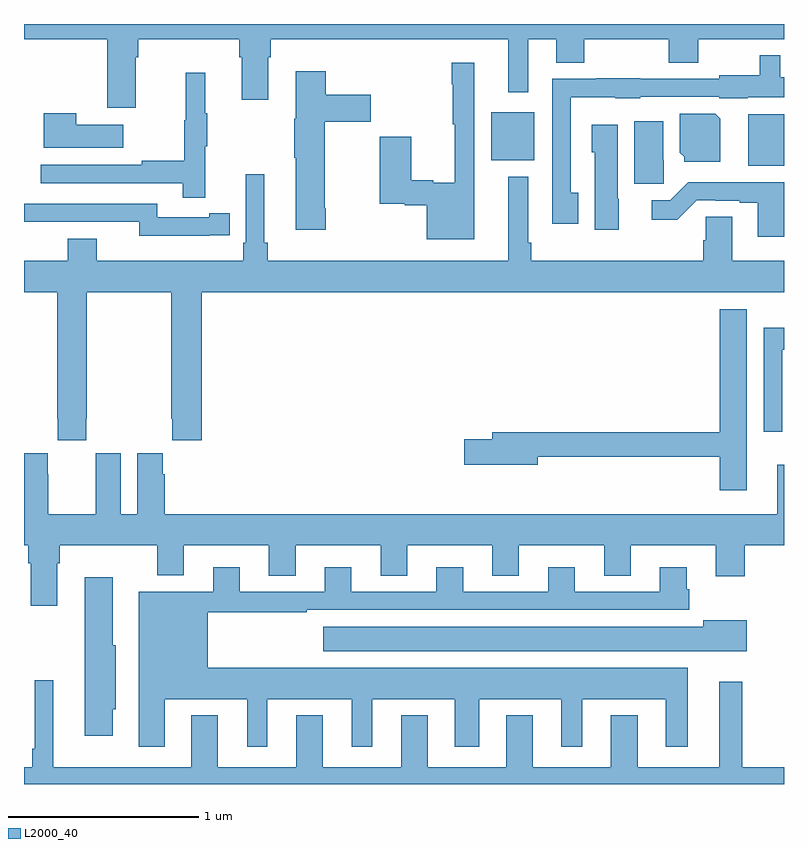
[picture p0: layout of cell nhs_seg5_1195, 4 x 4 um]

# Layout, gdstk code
import gdstk
lib = gdstk.Library(unit=1e-6, precision=1e-09)
def R(c, l, rs):  # rectangles x0, y0, x1, y1
    for r in rs: c.add(gdstk.rectangle(r[:2], r[2:], *l))
def P(c, l, *ps):  # polygons
    for p in ps: c.add(gdstk.Polygon(p, *l))
L2000_40 = (2000, 40)

nhs_seg5_1195 = lib.new_cell('nhs_seg5_1195')
R(nhs_seg5_1195, L2000_40, [(186.812,896.054,187,896.324), (185.459,896.081,185.686,896.335)])
P(nhs_seg5_1195, L2000_40, [(183.589,896.624),(183.602,896.624),(183.602,896.72),(184.133,896.72),(184.133,896.624),(184.145,896.624),(184.145,896.4),(184.285,896.4),(184.285,896.624),(184.298,896.624),(184.298,896.72),(185.549,896.72),(185.549,896.439),(185.653,896.439),(185.653,896.72),(185.801,896.72),(185.801,896.596),(185.949,896.596),(185.949,896.72),(186.394,896.72),(186.394,896.596),(186.549,896.596),(186.549,896.72),(187,896.72),(187,896.799),(183,896.799),(183,896.72),(183.437,896.72),(183.437,896.358),(183.589,896.358)],
  [(185.917,895.91),(185.877,895.91),(185.877,896.414),(186.111,896.414),(186.111,896.408),(186.243,896.408),(186.243,896.415),(186.66,896.415),(186.66,896.408),(186.81,896.408),(186.81,896.414),(187,896.414),(187,896.519),(186.981,896.519),(186.981,896.635),(186.873,896.635),(186.873,896.53),(186.66,896.53),(186.66,896.511),(186.243,896.511),(186.243,896.513),(186.011,896.513),(186.011,896.511),(185.781,896.511),(185.781,895.749),(185.917,895.749)],
  [(185.371,896.596),(185.25,896.596),(185.25,896.483),(185.257,896.483),(185.257,896.271),(185.267,896.271),(185.267,895.963),(185.153,895.963),(185.153,895.976),(185.038,895.976),(185.038,896.206),(184.873,896.206),(184.873,895.853),(185.004,895.853),(185.004,895.846),(185.12,895.846),(185.12,895.667),(185.371,895.667)],
  [(184.589,895.828),(184.584,895.828),(184.584,896.285),(184.825,896.285),(184.825,896.427),(184.589,896.427),(184.589,896.551),(184.43,896.551),(184.43,896.301),(184.423,896.301),(184.423,896.095),(184.43,896.095),(184.43,895.716),(184.589,895.716)],
  [(183.953,896.155),(183.964,896.155),(183.964,896.329),(183.953,896.329),(183.953,896.542),(183.85,896.542),(183.85,896.292),(183.843,896.292),(183.843,896.078),(183.619,896.078),(183.619,896.058),(183.087,896.058),(183.087,895.962),(183.835,895.962),(183.835,895.884),(183.953,895.884)],
  [(183.523,896.269),(183.275,896.269),(183.275,896.329),(183.104,896.329),(183.104,896.147),(183.523,896.147)],
  [(186.664,896.3),(186.638,896.326),(186.452,896.326),(186.452,896.122),(186.474,896.1),(186.474,896.075),(186.664,896.075)],
  [(186.368,896.082),(186.364,896.082),(186.364,896.287),(186.212,896.287),(186.212,895.959),(186.368,895.959)],
  [(186.13,895.878),(186.124,895.878),(186.124,896.269),(185.987,896.269),(185.987,896.124),(186.005,896.124),(186.005,895.716),(186.13,895.716)],
  [(183.327,894.721),(183.33,894.721),(183.33,895.388),(183.775,895.388),(183.775,894.721),(183.781,894.721),(183.781,894.609),(183.935,894.609),(183.935,895.388),(187,895.388),(187,895.552),(186.727,895.552),(186.727,895.784),(186.588,895.784),(186.588,895.662),(186.575,895.662),(186.575,895.552),(185.671,895.552),(185.671,895.648),(185.653,895.648),(185.653,895.996),(185.549,895.996),(185.549,895.552),(184.283,895.552),(184.283,895.648),(184.264,895.648),(184.264,896.008),(184.167,896.008),(184.167,895.648),(184.154,895.648),(184.154,895.552),(183.382,895.552),(183.382,895.669),(183.23,895.669),(183.23,895.552),(183,895.552),(183,895.388),(183.175,895.388),(183.175,894.721),(183.177,894.721),(183.177,894.609),(183.327,894.609)],
  [(187,895.966),(186.496,895.966),(186.402,895.872),(186.303,895.872),(186.303,895.77),(186.438,895.77),(186.54,895.872),(186.64,895.872),(186.64,895.869),(186.767,895.869),(186.767,895.857),(186.863,895.857),(186.863,895.68),(187,895.68)],
  [(183.974,895.686),(184.082,895.686),(184.082,895.802),(183.974,895.802),(183.974,895.782),(183.702,895.782),(183.702,895.854),(183,895.854),(183,895.757),(183.146,895.757),(183.146,895.758),(183.606,895.758),(183.606,895.685),(183.974,895.685)],
  [(186.805,895.297),(186.662,895.297),(186.662,894.65),(185.465,894.65),(185.465,894.614),(185.316,894.614),(185.316,894.479),(185.704,894.479),(185.704,894.522),(186.662,894.522),(186.662,894.345),(186.805,894.345)],
  [(186.99,895.084),(187,895.084),(187,895.2),(186.894,895.2),(186.894,894.654),(186.99,894.654)],
  [(183.175,893.96),(183.188,893.96),(183.188,894.056),(183.701,894.056),(183.701,893.897),(183.841,893.897),(183.841,894.056),(184.289,894.056),(184.289,893.896),(184.429,893.896),(184.429,894.056),(184.877,894.056),(184.877,893.896),(185.017,893.896),(185.017,894.056),(185.465,894.056),(185.465,893.896),(185.605,893.896),(185.605,894.056),(186.053,894.056),(186.053,893.896),(186.193,893.896),(186.193,894.056),(186.641,894.056),(186.641,893.892),(186.794,893.892),(186.794,894.056),(187,894.056),(187,894.478),(186.965,894.478),(186.965,894.22),(183.74,894.22),(183.74,894.428),(183.73,894.428),(183.73,894.541),(183.596,894.541),(183.596,894.22),(183.508,894.22),(183.508,894.541),(183.378,894.541),(183.378,894.428),(183.377,894.428),(183.377,894.22),(183.127,894.22),(183.127,894.428),(183.126,894.428),(183.126,894.541),(183,894.541),(183,894.056),(183.023,894.056),(183.023,893.96),(183.035,893.96),(183.035,893.736),(183.175,893.736)],
  [(183.742,893.246),(184.175,893.246),(184.175,892.995),(184.279,892.995),(184.279,893.246),(184.724,893.246),(184.724,892.995),(184.834,892.995),(184.834,893.246),(185.267,893.246),(185.267,892.995),(185.395,892.995),(185.395,893.246),(185.828,893.246),(185.828,892.995),(185.938,892.995),(185.938,893.246),(186.377,893.246),(186.377,892.995),(186.493,892.995),(186.493,893.41),(183.967,893.41),(183.967,893.703),(184.487,893.703),(184.487,893.715),(186.5,893.715),(186.5,893.823),(186.487,893.823),(186.487,893.941),(186.347,893.941),(186.347,893.811),(185.899,893.811),(185.899,893.941),(185.759,893.941),(185.759,893.811),(185.311,893.811),(185.311,893.941),(185.171,893.941),(185.171,893.811),(184.723,893.811),(184.723,893.941),(184.583,893.941),(184.583,893.811),(184.135,893.811),(184.135,893.941),(183.995,893.941),(183.995,893.812),(183.605,893.812),(183.605,892.995),(183.742,892.995)],
  [(183.466,893.193),(183.484,893.193),(183.484,893.529),(183.466,893.529),(183.466,893.887),(183.32,893.887),(183.32,893.052),(183.466,893.052)],
  [(186.805,893.662),(186.575,893.662),(186.575,893.626),(184.575,893.626),(184.575,893.498),(186.805,893.498)],
  [(187,892.888),(186.781,892.888),(186.781,893.338),(186.659,893.338),(186.659,892.888),(186.229,892.888),(186.229,893.161),(186.089,893.161),(186.089,892.888),(185.677,892.888),(185.677,893.161),(185.537,893.161),(185.537,892.888),(185.125,892.888),(185.125,893.161),(184.985,893.161),(184.985,892.888),(184.573,892.888),(184.573,893.161),(184.433,893.161),(184.433,892.888),(184.021,892.888),(184.021,893.161),(183.881,893.161),(183.881,892.888),(183.154,892.888),(183.154,893.344),(183.057,893.344),(183.057,892.984),(183.044,892.984),(183.044,892.888),(183,892.888),(183,892.799),(187,892.799)])

lib.write_gds('nhs_seg5_1195.gds')
